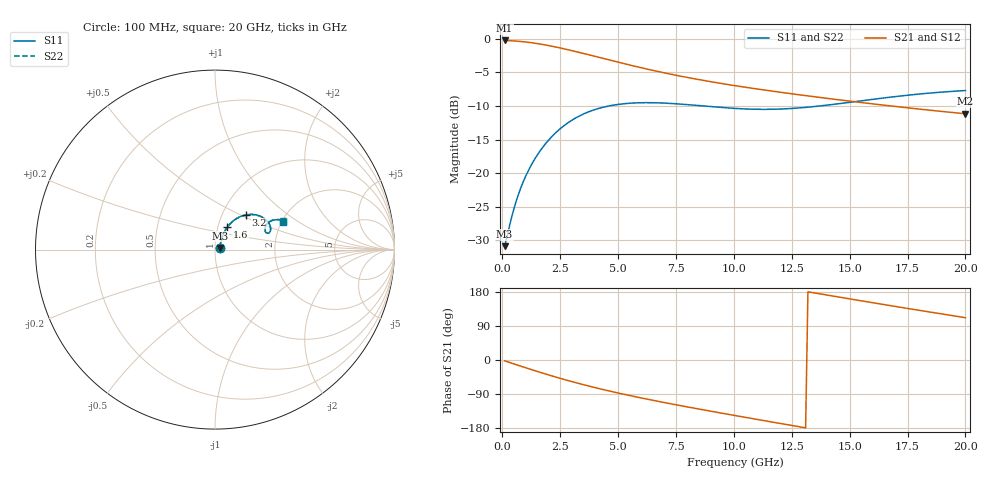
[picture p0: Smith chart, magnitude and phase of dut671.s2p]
! Touchstone file exported from HFSS 2024.1.0
!  File:  C:/UserFiles/LocalFiles/RDL_TSV_Batchsim/temp_RDL_TSV_671_1779814349.aedt
!  Generated:  01:06:30 AM May 27, 2026
!  Design:  RDL_TSV
!  Project:  temp_RDL_TSV_671_1779814349
!  Setup:  Setup1
!  Solution:  Sweep
! Variables:
!  dtsv = 7.27um
!  hbump = 3um
!  htsv = 88.84um
!  ldown = 496.08um
!  lrdl = 511.08um
!  p = 40
!  p1 = 48.21um
!  rhole = 10um
!  subl = 3532.56um
!  t = 450um
!  tdown = 2.86um
!  trdl = 4.3um
!  viad = 10um
!  wdown = 12.08um
!  wrdl = 14.98um
!  xbump = 18um
# GHz S MA R 50.000000
! Terminal data exported
! Port[1] = TM1_1_T1
! Port[2] = TM1_4_T1
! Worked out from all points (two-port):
!   200 points, 100 MHz to 20 GHz, reference 50 ohm
!   highest |S21| = -0.24 dB at 100 MHz (marker M1); lowest = -11.2 dB at 20 GHz (marker M2)
!   |S21| within 3 dB of the highest: start of sweep to 4.726 GHz
!   lowest |S11| = -30.9 dB at 100 MHz (marker M3), VSWR 1.06, Z = 52.8 + j0.964 ohm
!   |S11| at or under -10 dB: start of sweep to 4.602 GHz; 8.68 GHz to 13.71 GHz (5.031 GHz wide, 44.9 % of centre)
!   |S22| runs from -30.9 to -7.7 dB; largest |S21 - S12| = 8.8e-15
!   S11 on the Smith chart (normalised r, x): 100 MHz: 1.06, +0.02; 1.6 GHz: 1.11, +0.29; 3.2 GHz: 1.29, +0.54; 20 GHz: 2.04, +0.77
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0.1  0.02856 18.6  0.9729 -2.1  0.9729 -2.1  0.02856 18.6
! Gamma 0 0 0 0
! Port Impedance 50 0 50 0
0.5  0.05411 52.8  0.9654 -10.3  0.9654 -10.3  0.05412 52.8
0.8  0.07766 59.5  0.9559 -16.3  0.9559 -16.3  0.07766 59.5
1.2  0.1105 61.9  0.9387 -24.2  0.9387 -24.2  0.1105 61.9
1.6  0.1437 61.2  0.9169 -32.0  0.9169 -32.0  0.1437 61.1
2  0.1761 58.8  0.8912 -39.4  0.8912 -39.4  0.1761 58.8
2.4  0.2068 55.7  0.8629 -46.6  0.8629 -46.6  0.2067 55.6
2.8  0.2347 52.0  0.8328 -53.6  0.8328 -53.6  0.2346 52.0
3.2  0.2593 48.2  0.802 -60.3  0.802 -60.3  0.2591 48.2
3.5  0.2753 45.3  0.7788 -65.1  0.7788 -65.1  0.2751 45.3
4.2  0.3045 38.9  0.7261 -75.8  0.7261 -75.8  0.3042 38.9
5.1  0.3264 31.6  0.6637 -88.4  0.6637 -88.4  0.326 31.6
5.9  0.3341 26.3  0.6149 -98.9  0.6149 -98.9  0.3335 26.3
6.8  0.3334 21.8  0.5675 -110.0  0.5675 -110.0  0.3327 21.8
8.4  0.3193 17.6  0.5004 -128.4  0.5004 -128.4  0.3184 17.5
10.1  0.3028 17.8  0.4466 -147.1  0.4466 -147.1  0.3018 17.8
11.7  0.2989 21.0  0.4069 -164.2  0.4069 -164.2  0.2979 21.1
13.4  0.3121 24.9  0.3719 177.9  0.3719 177.9  0.3114 25.1
15.1  0.3385 26.9  0.342 160.3  0.342 160.3  0.3382 27.1
16.7  0.3669 26.7  0.3175 144.0  0.3175 144.0  0.3671 26.9
18.3  0.3923 25.0  0.2961 128.2  0.2961 128.2  0.3929 25.2
20  0.412 22.3  0.2767 111.7  0.2767 111.7  0.4129 22.5
